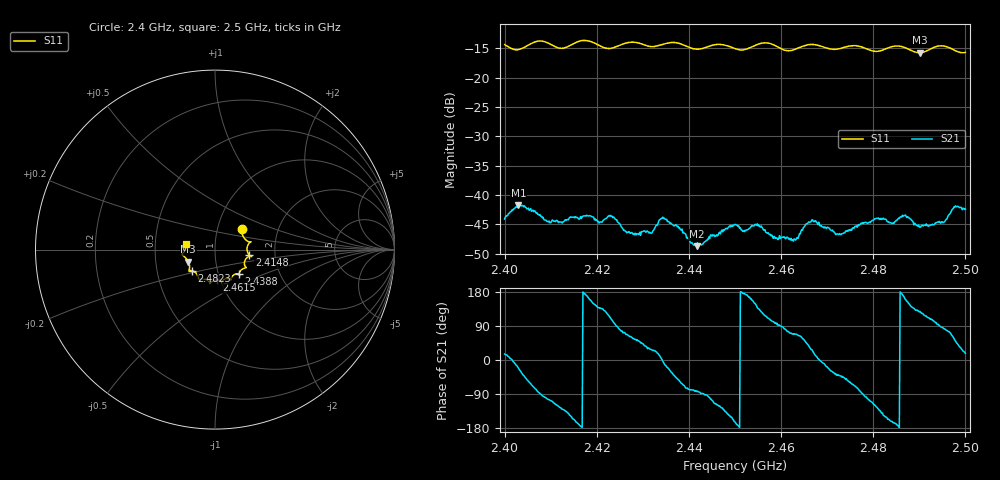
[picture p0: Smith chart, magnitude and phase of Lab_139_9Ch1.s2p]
# Hz S RI R 50
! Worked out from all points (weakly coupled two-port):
!   601 points, 2.4 GHz to 2.5 GHz, reference 50 ohm
!   highest |S21| = -41.72 dB at 2.403 GHz (marker M1); lowest = -48.7 dB at 2.4417 GHz (marker M2)
!   lowest |S11| = -15.7 dB at 2.4902 GHz (marker M3), VSWR 1.39, Z = 36.8 - j5.09 ohm
!   |S11| at or under -10 dB: start of sweep to end of sweep
!   S12 and S22 are empty: the file has one direction only
!   S11 on the Smith chart (normalised r, x): 2.4 GHz: 1.31, +0.32; 2.4148 GHz: 1.47, -0.10; 2.4388 GHz: 1.25, -0.35; 2.4615 GHz: 0.97, -0.34; 2.4823 GHz: 0.75, -0.18; 2.5 GHz: 0.72, +0.04
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2.4e9  0.1515 0.117  0.00598 0.00171  0 0  0 0
2.403e9  0.1594 0.0687  0.00765 -0.00295  0 0  0 0
2.409667e9  0.192 0.0372  -0.00154 -0.0058  0 0  0 0
2.414833e9  0.1913 -0.0316  -0.0059 -0.00265  0 0  0 0
2.416667e9  0.2032 -0.0398  -0.00629 -0.000415  0 0  0 0
2.423167e9  0.1642 -0.0698  -0.00199 0.00627  0 0  0 0
2.428667e9  0.1717 -0.1012  0.00291 0.00367  0 0  0 0
2.433333e9  0.1358 -0.1296  0.00553 0.00165  0 0  0 0
2.438833e9  0.1319 -0.137  0.00191 -0.00439  0 0  0 0
2.441667e9  0.1048 -0.1404  0.000423 -0.00363  0 0  0 0
2.45e9  0.0727 -0.1616  -0.00537 -0.0016  0 0  0 0
2.456667e9  0.0439 -0.1935  -0.00207 0.00434  0 0  0 0
2.4615e9  0.0112 -0.1693  0.00108 0.00418  0 0  0 0
2.466667e9  -0.027 -0.1904  0.00544 0.00282  0 0  0 0
2.4725e9  -0.0652 -0.1637  0.00349 -0.00299  0 0  0 0
2.482333e9  -0.1279 -0.1179  -0.00523 -0.00337  0 0  0 0
2.483333e9  -0.1377 -0.1167  -0.00542 -0.00238  0 0  0 0
2.486833e9  -0.1436 -0.1099  -0.00637 0.00199  0 0  0 0
2.490167e9  -0.1488 -0.0674  -0.00326 0.00419  0 0  0 0
2.494667e9  -0.1848 -0.028  0.000259 0.00574  0 0  0 0
2.497833e9  -0.1699 -0.00682  0.00516 0.00622  0 0  0 0
2.5e9  -0.1617 0.0298  0.00724 0.00229  0 0  0 0
